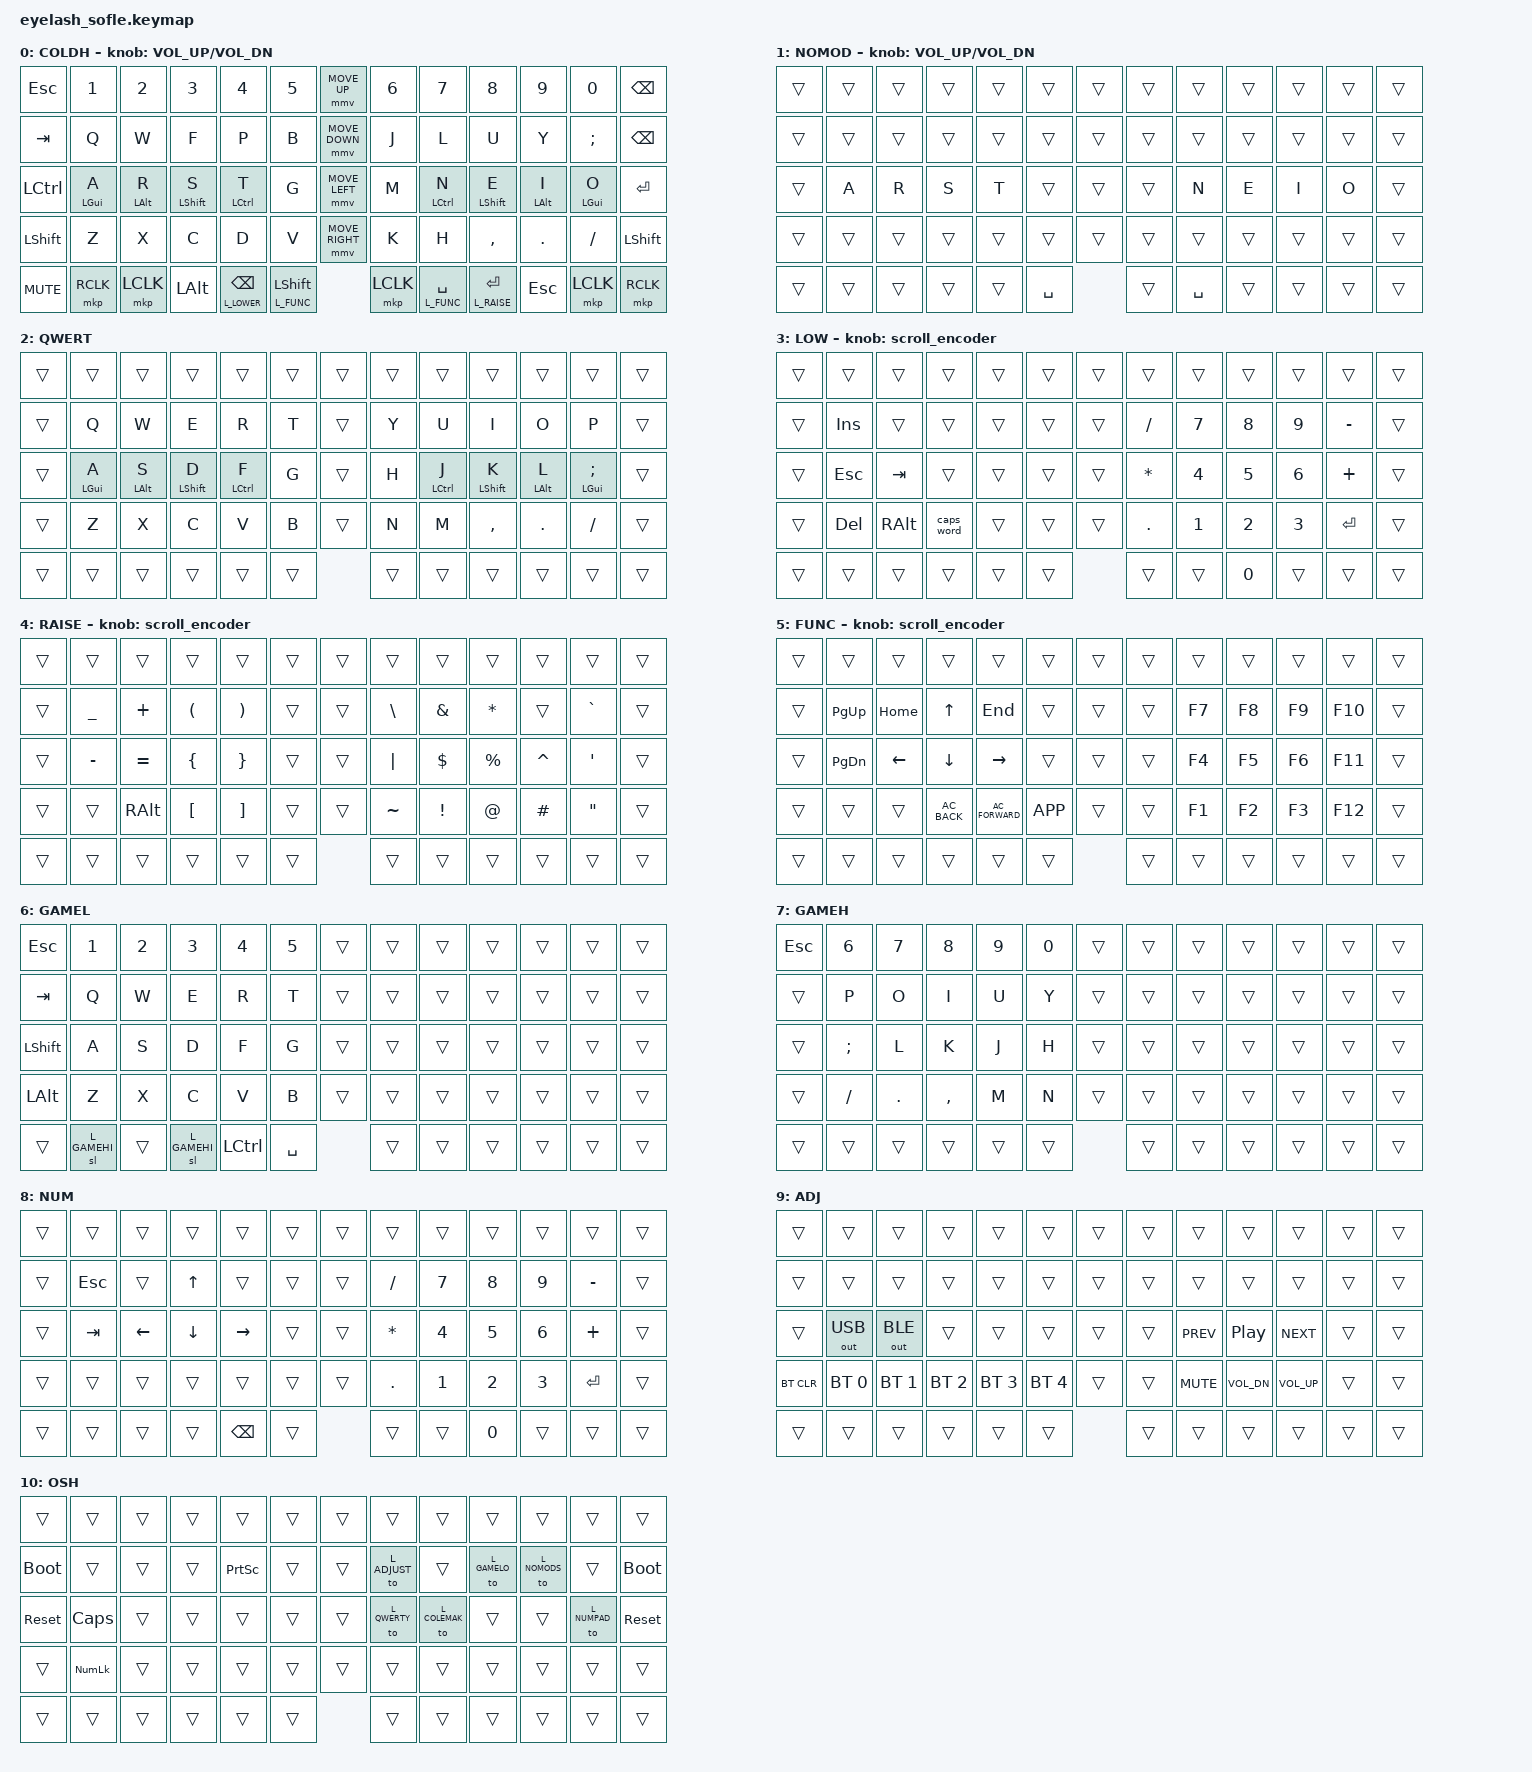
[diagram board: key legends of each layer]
#define ZMK_POINTING_DEFAULT_MOVE_VAL 1200  // 600
#define ZMK_POINTING_DEFAULT_SCRL_VAL 25   // 10

#include <input/processors.dtsi>
#include <zephyr/dt-bindings/input/input-event-codes.h>
#include <behaviors.dtsi>
#include <dt-bindings/zmk/bt.h>
#include <dt-bindings/zmk/ext_power.h>
#include <dt-bindings/zmk/keys.h>
#include <dt-bindings/zmk/pointing.h>
#include <dt-bindings/zmk/rgb.h>
#include <dt-bindings/zmk/outputs.h>

#define L_COLEMAK 0
#define L_NOMODS 1
#define L_QWERTY 2
#define L_LOWER 3
#define L_RAISE 4
#define L_FUNC 5
#define L_GAMELO 6
#define L_GAMEHI 7
#define L_NUMPAD 8
#define L_ADJUST 9
#define L_ONESHOT 10

&mmv_input_listener { input-processors = <&zip_xy_scaler 2 1>; };

&msc_input_listener { input-processors = <&zip_scroll_scaler 2 1>; };

&msc {
    acceleration-exponent = <1>;      // 0
    time-to-max-speed-ms = <100>;       // 300
    delay-ms = <0>;                   // 0
};

&mmv {
    time-to-max-speed-ms = <500>;
    acceleration-exponent = <1>;
    trigger-period-ms = <16>;
};


/ {
    combos {
        compatible = "zmk,combos";
        combo_oneshot1 {
            timeout-ms = <50>;
            key-positions = <56 60>;
            bindings = <&sl L_ONESHOT>;
        };
        combo_oneshot2 {
            timeout-ms = <50>;
            key-positions = <55 56 57>;
            bindings = <&sl L_ONESHOT>;
        };
        combo_oneshot3 {
            timeout-ms = <50>;
            key-positions = <59 60 61>;
            bindings = <&sl L_ONESHOT>;
        };
    };

    behaviors {
        hm: homerow_mods {
            compatible = "zmk,behavior-hold-tap";
            label = "HOMEROW_MODS";
            #binding-cells = <2>;
            tapping-term-ms = <150>;
            quick-tap-ms = <0>;
            flavor = "tap-preferred";
            bindings = <&kp>, <&kp>;
        };
        ls: layer_plus_sticky {
            compatible = "zmk,behavior-hold-tap";
            label = "LAYER_PLUS_STICKY";
            #binding-cells = <2>;
            tapping-term-ms = <150>;
            quick-tap-ms = <0>;
            flavor = "tap-preferred";
            bindings = <&mo>, <&sk>;
        };
    };

    scroll_encoder: scroll_encoder {
        compatible = "zmk,behavior-sensor-rotate";
        #sensor-binding-cells = <0>;
        bindings = <&msc SCRL_DOWN>, <&msc SCRL_UP>;
        tap-ms = <100>;
    };

    keymap {
        compatible = "zmk,keymap";

//        layer0 {
//            bindings = <
//&kp ESC     &kp N1     &kp N2        &kp N3        &kp N4  &kp N5       &kp UP_ARROW     &kp N6     &kp N7     &kp N8     &kp N9           &kp N0      &kp BACKSPACE
//&kp TAB     &kp Q      &kp W         &kp E         &kp R   &kp T        &kp DOWN_ARROW   &kp Y      &kp U      &kp I      &kp O            &kp P       &kp BSLH
//&kp CAPS    &kp A      &kp S         &kp D         &kp F   &kp G        &kp LEFT_ARROW   &kp H      &kp J      &kp K      &kp L            &kp SEMI    &kp APOS
//&kp LSHFT   &kp Z      &kp X         &kp C         &kp V   &kp B        &kp RIGHT_ARROW  &kp N      &kp M      &kp COMMA  &kp DOT          &kp FSLH    &kp ENTER
//&kp C_MUTE  &kp LCTRL  &kp LEFT_GUI  &kp LEFT_ALT  &mo 1   &kp SPACE    &kp ENTER        &kp SPACE  &kp ENTER  &mo 2      &kp RIGHT_SHIFT  &kp DELETE
//            >;
//
//            sensor-bindings = <&inc_dec_kp C_VOLUME_UP C_VOL_DN>;
//            display-name = "LAYER0";
//        };
//
//        layer_1 {
//            bindings = <
//&kp GRAVE   &kp F1           &kp F2          &kp F3           &kp F4           &kp F5             &mmv MOVE_UP     &kp F6           &kp F7           &kp F8      &kp F9     &kp F10           &trans
//&trans      &kp GRAVE        &mkp LCLK       &mkp MCLK        &mkp RCLK        &mkp MB4           &mmv MOVE_DOWN   &kp PG_UP        &kp END          &kp UP      &kp HOME   &kp MINUS         &kp EQUAL
//&trans      &kp TILDE        &trans          &trans           &trans           &mkp MB5           &mmv MOVE_LEFT   &kp PG_DN        &kp LEFT         &kp DOWN    &kp RIGHT  &kp LEFT_BRACKET  &kp RIGHT_BRACKET
//&trans      &rgb_ug RGB_OFF  &rgb_ug RGB_ON  &rgb_ug RGB_EFF  &rgb_ug RGB_EFR  &rgb_ug RGB_SPI    &mmv MOVE_RIGHT  &rgb_ug RGB_BRI  &rgb_ug RGB_BRD  &kp INSERT  &kp F11    &kp F12           &trans
//&kp C_MUTE  &trans           &trans          &trans           &trans           &trans             &mkp LCLK        &trans           &trans           &trans      &trans     &trans
//            >;
//
//            display-name = "layer1";
//            sensor-bindings = <&scroll_encoder>;
//        };
//
//        layer_2 {
//            bindings = <
//&kp TILDE  &bt BT_SEL 0  &bt BT_SEL 1    &bt BT_SEL 2  &bt BT_SEL 3  &bt BT_SEL 4    &mmv MOVE_UP     &kp F6  &kp F7  &kp F8      &kp F9     &kp F10      &trans
//&trans     &bt BT_CLR    &bt BT_CLR_ALL  &trans        &trans        &trans          &mmv MOVE_DOWN   &trans  &trans  &kp F11     &kp F12    &kp UNDER    &kp PLUS
//&trans     &out OUT_USB  &out OUT_BLE    &trans        &trans        &trans          &mmv MOVE_LEFT   &trans  &trans  &trans      &trans     &kp LBRC     &kp RBRC
//&trans     &sys_reset    &trans          &bootloader   &trans        &trans          &mmv MOVE_RIGHT  &trans  &trans  &sys_reset  &soft_off  &bootloader  &trans
//&trans     &trans        &trans          &trans        &trans        &trans          &mkp LCLK        &trans  &trans  &trans      &trans     &trans
//            >;
//
//            sensor-bindings = <&scroll_encoder>;
//        };
//
//        layer_3 {
//            bindings = <
//&trans  &trans  &trans  &trans  &trans  &trans    &trans  &trans  &trans  &trans  &trans  &trans  &trans
//&trans  &trans  &trans  &trans  &trans  &trans    &trans  &trans  &trans  &trans  &trans  &trans  &trans
//&trans  &trans  &trans  &trans  &trans  &trans    &trans  &trans  &trans  &trans  &trans  &trans  &trans
//&trans  &trans  &trans  &trans  &trans  &trans    &trans  &trans  &trans  &trans  &trans  &trans  &trans
//&trans  &trans  &trans  &trans  &trans  &trans    &trans  &trans  &trans  &trans  &trans  &trans
//            >;
//        };

                default_layer {
                        display-name = "COLDH";
                        bindings = <

&kp ESC     &kp N1     &kp N2        &kp N3        &kp N4  &kp N5               &mmv MOVE_UP    &kp N6     &kp N7      &kp N8      &kp N9            &kp N0      &kp BACKSPACE
&kp TAB     &kp Q      &kp W         &kp F         &kp P   &kp B                &mmv MOVE_DOWN  &kp J      &kp L       &kp U       &kp Y             &kp SEMI    &kp BSPC
&kp LCTRL   &hm LGUI A &hm LALT R    &hm LSHFT S   &hm LCTRL T &kp G            &mmv MOVE_LEFT  &kp M      &hm LCTRL N &hm LSHFT E &hm LALT I        &hm LGUI O  &kp RET
&kp LSHFT   &kp Z      &kp X         &kp C         &kp D   &kp V                &mmv MOVE_RIGHT &kp K      &kp H       &kp COMMA   &kp DOT           &kp FSLH    &kp LSHFT
&kp C_MUTE  &mkp RCLK  &mkp LCLK  &kp LALT  &lt L_LOWER BSPC &ls L_FUNC LSHIFT  &mkp LCLK       &lt L_FUNC SPACE &lt L_RAISE RET &kp ESC  &mkp LCLK   &mkp RCLK
            >;
            			sensor-bindings = <&inc_dec_kp C_VOLUME_UP C_VOL_DN>;
                };

                nomods_layer {
                        display-name = "NOMOD";
                        bindings = <
&trans  &trans  &trans  &trans  &trans  &trans    &trans  &trans    &trans  &trans  &trans  &trans  &trans
&trans  &trans  &trans  &trans  &trans  &trans    &trans  &trans    &trans  &trans  &trans  &trans  &trans
&trans  &kp A   &kp R   &kp S   &kp T   &trans    &trans  &trans    &kp N   &kp E   &kp I   &kp O   &trans
&trans  &trans  &trans  &trans  &trans  &trans    &trans  &trans    &trans  &trans  &trans  &trans  &trans
&trans  &trans  &trans  &trans  &trans  &kp SPACE &trans  &kp SPACE &trans  &trans  &trans  &trans
                        >;
            			sensor-bindings = <&inc_dec_kp C_VOLUME_UP C_VOL_DN>;
                };

                qwerty_layer {
                        display-name = "QWERT";
                        bindings = <
&trans       &trans     &trans        &trans      &trans      &trans  &trans     &trans     &trans       &trans      &trans          &trans        &trans
&trans       &kp Q      &kp W         &kp E       &kp R       &kp T   &trans     &kp Y      &kp U        &kp I       &kp O           &kp P         &trans
&trans       &hm LGUI A &hm LALT S    &hm LSHFT D &hm LCTRL F &kp G   &trans     &kp H      &hm LCTRL J  &hm LSHFT K &hm LALT L      &hm LGUI SEMI &trans
&trans       &kp Z      &kp X         &kp C       &kp V       &kp B   &trans     &kp N      &kp M        &kp COMMA   &kp DOT         &kp FSLH      &trans
&trans  &trans  &trans  &trans  &trans  &trans &trans  &trans &trans  &trans  &trans  &trans
                        >;
                };

                lower_layer {
                        display-name = "LOW";
                        bindings = <
&trans    &trans    &trans    &trans     &trans  &trans    &trans  &trans   &trans   &trans   &trans   &trans     &trans
&trans    &kp INS   &trans    &trans     &trans  &trans    &trans  &kp FSLH &kp N7   &kp N8   &kp N9   &kp MINUS  &trans
&trans    &kp ESC   &kp TAB   &trans     &trans  &trans    &trans  &kp STAR &kp N4   &kp N5   &kp N6   &kp PLUS   &trans
&trans    &kp DEL   &kp RALT  &caps_word &trans  &trans    &trans  &kp DOT  &kp N1   &kp N2   &kp N3   &kp RET    &trans
&trans    &trans    &trans    &trans     &trans  &trans    &trans  &trans   &kp N0   &trans   &trans   &trans
//   &trans   &kp INS  &trans   &trans   &trans   &trans        &kp FSLH &kp N7   &kp N8   &kp N9   &kp MINUS &trans
//   &trans   &kp ESC  &kp TAB  &trans   &trans   &trans        &kp STAR &kp N4   &kp N5   &kp N6   &kp PLUS  &trans
//   &trans   &kp DEL  &kp RALT &caps_word &trans &trans        &kp DOT  &kp N1   &kp N2   &kp N3   &kp RET   &trans
//                              &trans   &trans   &trans        &trans   &kp N0   &trans
                        >;
                        sensor-bindings = <&scroll_encoder>;
                };

                raise_layer {
                        display-name = "RAISE";
                        bindings = <
&trans  &trans    &trans    &trans   &trans    &trans    &trans  &trans    &trans   &trans    &trans    &trans     &trans
&trans  &kp UNDER &kp PLUS  &kp LPAR &kp RPAR  &trans    &trans  &kp BSLH  &kp AMPS &kp STAR  &trans    &kp GRAVE  &trans
&trans  &kp MINUS &kp EQUAL &kp LBRC &kp RBRC  &trans    &trans  &kp PIPE  &kp DLLR &kp PRCNT &kp CARET &kp SQT    &trans
&trans  &trans    &kp RALT  &kp LBKT &kp RBKT  &trans    &trans  &kp TILDE &kp EXCL &kp AT    &kp HASH  &kp DQT    &trans
&trans  &trans  &trans  &trans  &trans  &trans    &trans  &trans  &trans  &trans  &trans  &trans
//   &trans  &kp UNDER &kp PLUS  &kp LPAR &kp RPAR &trans        &kp BSLH  &kp AMPS &kp STAR  &trans    &kp GRAVE &trans
//   &trans  &kp MINUS &kp EQUAL &kp LBRC &kp RBRC &trans        &kp PIPE  &kp DLLR &kp PRCNT &kp CARET &kp SQT   &trans
//   &trans  &trans    &kp RALT  &kp LBKT &kp RBKT &trans        &kp TILDE &kp EXCL &kp AT    &kp HASH  &kp DQT   &trans
//                              &trans   &trans   &trans        &trans   &trans   &trans
                        >;
                        sensor-bindings = <&scroll_encoder>;
                };

                func_layer {
                        display-name = "FUNC";
                        bindings = <
&trans  &trans    &trans   &trans        &trans           &trans       &trans  &trans  &trans   &trans   &trans   &trans   &trans
&trans  &kp PG_UP &kp HOME &kp UP        &kp END          &trans       &trans  &trans  &kp F7   &kp F8   &kp F9   &kp F10  &trans
&trans  &kp PG_DN &kp LEFT &kp DOWN      &kp RIGHT        &trans       &trans  &trans  &kp F4   &kp F5   &kp F6   &kp F11  &trans
&trans  &trans    &trans   &kp C_AC_BACK &kp C_AC_FORWARD &kp K_APP    &trans  &trans  &kp F1   &kp F2   &kp F3   &kp F12  &trans
&trans  &trans    &trans   &trans        &trans           &trans       &trans  &trans  &trans   &trans   &trans   &trans
//   &trans  &kp PG_UP &kp HOME &kp UP   &kp END   &trans                &trans   &kp F7   &kp F8   &kp F9   &kp F10  &trans
//   &trans  &kp PG_DN &kp LEFT &kp DOWN &kp RIGHT &trans                &trans   &kp F4   &kp F5   &kp F6   &kp F11  &trans
//   &trans  &trans    &trans &kp C_AC_BACK &kp C_AC_FORWARD &kp K_APP   &trans   &kp F1   &kp F2   &kp F3   &kp F12  &trans
//                              &trans   &trans    &trans      &trans   &trans   &trans
                        >;
                        sensor-bindings = <&scroll_encoder>;
                };

                gamelo_layer {
                        display-name = "GAMEL";
                        bindings = <
&kp ESC    &kp N1       &kp N2   &kp N3       &kp N4     &kp N5       &trans  &trans  &trans  &trans  &trans  &trans  &trans
&kp TAB    &kp Q        &kp W    &kp E        &kp R      &kp T        &trans  &trans  &trans  &trans  &trans  &trans  &trans
&kp LSHFT  &kp A        &kp S    &kp D        &kp F      &kp G        &trans  &trans  &trans  &trans  &trans  &trans  &trans
&kp LALT   &kp Z        &kp X    &kp C        &kp V      &kp B        &trans  &trans  &trans  &trans  &trans  &trans  &trans
&trans     &sl L_GAMEHI &trans   &sl L_GAMEHI &kp LCTRL  &kp SPACE    &trans  &trans  &trans  &trans  &trans  &trans
                        >;
                };

                gamehi_layer {
                        display-name = "GAMEH";
                        bindings = <
&kp ESC   &kp N6    &kp N7  &kp N8    &kp N9  &kp N0    &trans  &trans  &trans  &trans  &trans  &trans  &trans
&trans    &kp P     &kp O   &kp I     &kp U   &kp Y     &trans  &trans  &trans  &trans  &trans  &trans  &trans
&trans    &kp SEMI  &kp L   &kp K     &kp J   &kp H     &trans  &trans  &trans  &trans  &trans  &trans  &trans
&trans    &kp FSLH  &kp DOT &kp COMMA &kp M   &kp N     &trans  &trans  &trans  &trans  &trans  &trans  &trans
&trans    &trans    &trans  &trans    &trans  &trans    &trans  &trans  &trans  &trans  &trans  &trans
                        >;
                };

                numpad_layer {
                        display-name = "NUM";
                        bindings = <
&trans  &trans  &trans   &trans   &trans    &trans    &trans  &trans   &trans  &trans  &trans  &trans    &trans
&trans  &kp ESC &trans   &kp UP   &trans    &trans    &trans  &kp FSLH &kp N7  &kp N8  &kp N9  &kp MINUS &trans
&trans  &kp TAB &kp LEFT &kp DOWN &kp RIGHT &trans    &trans  &kp STAR &kp N4  &kp N5  &kp N6  &kp PLUS  &trans
&trans  &trans  &trans   &trans   &trans    &trans    &trans  &kp DOT  &kp N1  &kp N2  &kp N3  &kp RET   &trans
&trans  &trans  &trans   &trans   &kp BSPC  &trans    &trans  &trans   &kp N0  &trans  &trans  &trans
                        >;
                };

                adjust_layer {
                        display-name = "ADJ";
                        bindings = <
&trans     &trans       &trans       &trans       &trans        &trans          &trans  &trans   &trans     &trans       &trans       &trans   &trans
&trans     &trans       &trans       &trans       &trans        &trans          &trans  &trans   &trans     &trans       &trans       &trans   &trans
&trans     &out OUT_USB &out OUT_BLE &trans       &trans        &trans          &trans  &trans   &kp C_PREV &kp C_PP     &kp C_NEXT   &trans   &trans
&bt BT_CLR &bt BT_SEL 0 &bt BT_SEL 1 &bt BT_SEL 2 &bt BT_SEL 3  &bt BT_SEL 4    &trans  &trans   &kp C_MUTE &kp C_VOL_DN &kp C_VOL_UP &trans   &trans
&trans  &trans  &trans  &trans  &trans  &trans    &trans  &trans  &trans  &trans  &trans  &trans
                        >;
                };

                oneshot_layer {
                        display-name = "OSH";
                        bindings = <
&trans      &trans   &trans   &trans   &trans    &trans      &trans  &trans       &trans        &trans       &trans       &trans       &trans
&bootloader &trans   &trans   &trans   &kp PSCRN &trans      &trans  &to L_ADJUST &trans        &to L_GAMELO &to L_NOMODS &trans       &bootloader
&sys_reset  &kp CAPS &trans   &trans   &trans    &trans      &trans  &to L_QWERTY &to L_COLEMAK &trans       &trans       &to L_NUMPAD &sys_reset
&trans      &kp KP_NUM &trans  &trans  &trans    &trans      &trans  &trans       &trans        &trans       &trans       &trans       &trans
&trans  &trans  &trans  &trans  &trans  &trans    &trans  &trans  &trans  &trans  &trans  &trans
                        >;
                };

    };
};
